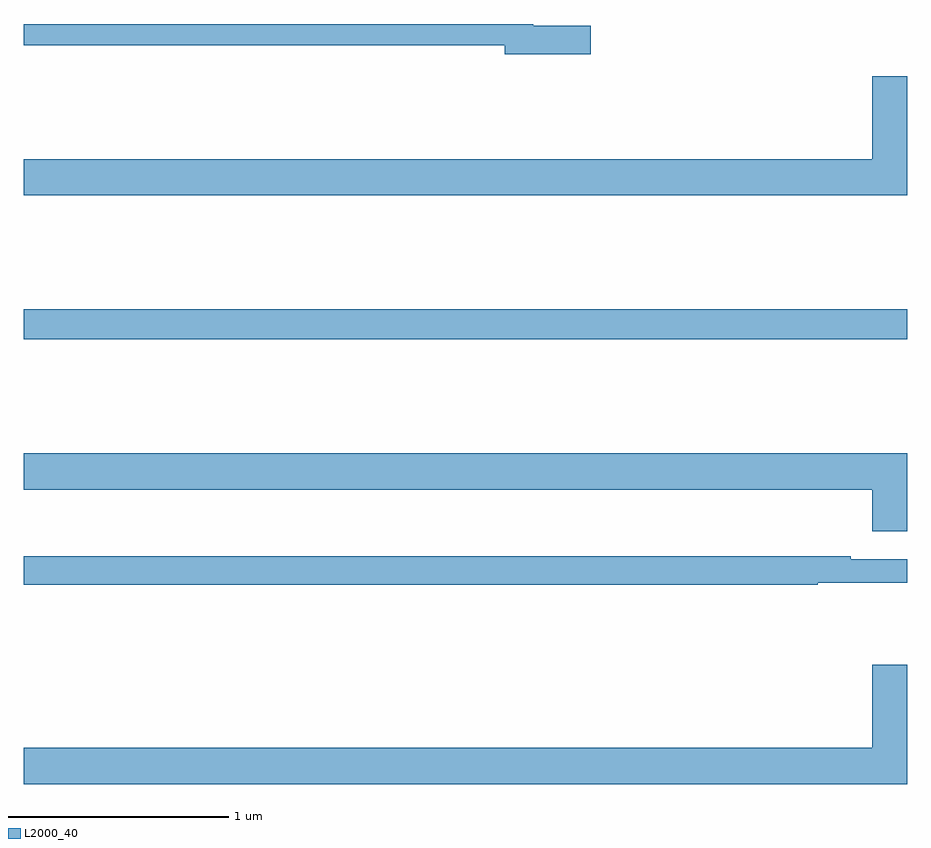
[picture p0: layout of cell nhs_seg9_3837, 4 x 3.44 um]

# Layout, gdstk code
import gdstk
lib = gdstk.Library(unit=1e-6, precision=1e-09)
def R(c, l, rs):  # rectangles x0, y0, x1, y1
    for r in rs: c.add(gdstk.rectangle(r[:2], r[2:], *l))
def P(c, l, *ps):  # polygons
    for p in ps: c.add(gdstk.Polygon(p, *l))
L2000_40 = (2000, 40)

nhs_seg9_3837 = lib.new_cell('nhs_seg9_3837')
R(nhs_seg9_3837, L2000_40, [(329,1225.072,333,1225.208)])
P(nhs_seg9_3837, L2000_40, [(331.567,1226.491),(331.306,1226.491),(331.306,1226.5),(329,1226.5),(329,1226.404),(331.178,1226.404),(331.178,1226.362),(331.567,1226.362)],
  [(333,1226.263),(332.84,1226.263),(332.84,1225.888),(329,1225.888),(329,1225.724),(333,1225.724)],
  [(333,1224.556),(329,1224.556),(329,1224.392),(332.84,1224.392),(332.84,1224.204),(333,1224.204)],
  [(332.594,1223.97),(333,1223.97),(333,1224.078),(332.744,1224.078),(332.744,1224.091),(329,1224.091),(329,1223.962),(332.594,1223.962)],
  [(333,1223.599),(332.84,1223.599),(332.84,1223.224),(329,1223.224),(329,1223.06),(333,1223.06)])

lib.write_gds('nhs_seg9_3837.gds')
